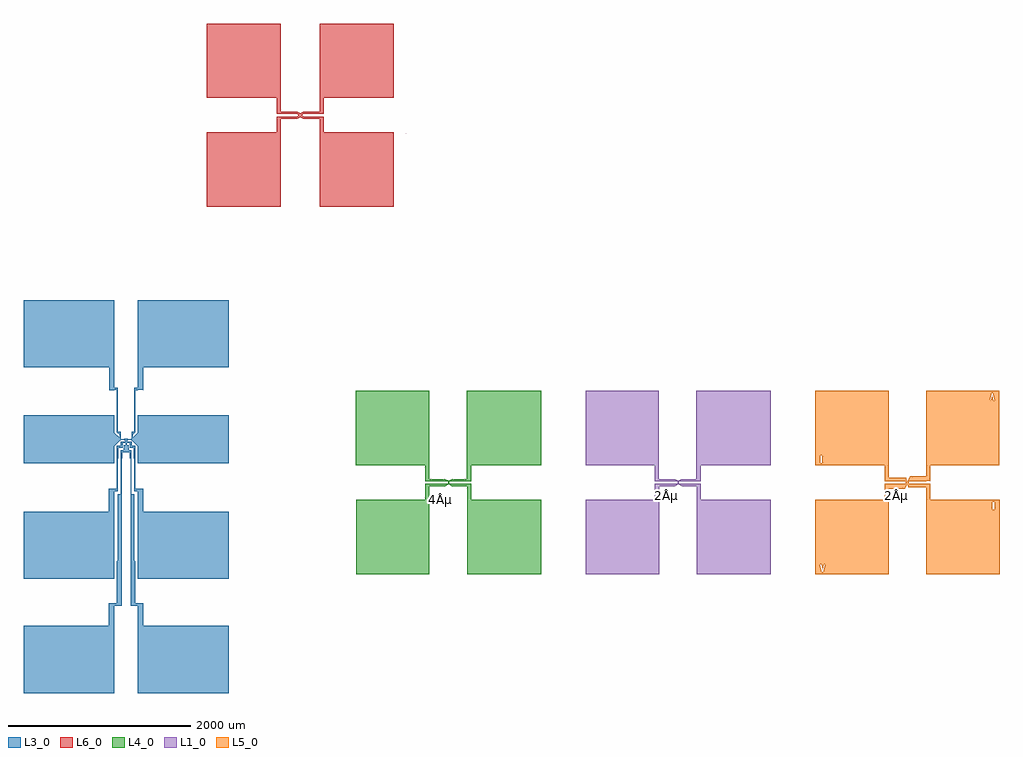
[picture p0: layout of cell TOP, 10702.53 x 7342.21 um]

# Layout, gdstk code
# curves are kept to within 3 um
import gdstk
lib = gdstk.Library(unit=1e-6, precision=1e-09)
def R(c, l, rs):  # rectangles x0, y0, x1, y1
    for r in rs: c.add(gdstk.rectangle(r[:2], r[2:], *l))
def P(c, l, *ps):  # polygons
    for p in ps: c.add(gdstk.Polygon(p, *l))
L1_0 = (1, 0)
L3_0 = (3, 0)
L4_0 = (4, 0)
L5_0 = (5, 0)
L6_0 = (6, 0)

top = lib.new_cell('TOP')
P(top, L1_0, [(8989.37,-1019.381),(8989.37,-205.391),(9746.868,-205.391),(9746.868,-30.384),(9986.89,-30.384),(9997.949,-21.604),(9997.949,-8.568),(9987.193,0.071),(9746.868,0),(9746.868,174.117),(8988.006,174.117),(8988.006,988.997),(9791.658,988.997),(9791.658,22.74),(9969.632,22.74),(10003.066,4.88),(10003.028,-36.407),(9969.685,-54.223),(9792.102,-54.223),(9792.102,-1019.381)],
  [(10203.643,-1019.044),(10203.643,-54.006),(10038.57,-54.006),(10005.031,-36.407),(10005.062,4.975),(10038.242,22.569),(10202.5,22.569),(10202.5,989.129),(11017.075,989.129),(11017.075,174.117),(10247.425,174.117),(10247.425,0.132),(10020.572,0.132),(10010.701,-8.608),(10010.701,-22.086),(10020.044,-30.047),(10247.425,-30.047),(10247.425,-205.327),(11017.014,-205.327),(11017.014,-1019.044)])
P(top, L3_0, [(2822.984,195.648),(2822.984,720.189),(3820.455,720.189),(3820.455,528.905),(3876.082,473.278),(3876.082,510.045),(3847.961,538.166),(3847.961,995.672),(3760.836,995.672),(3760.836,1249.581),(2822.984,1249.581),(2822.984,1984.669),(3820.434,1984.669),(3820.434,1022.199),(3857.977,1022.199),(3857.977,541.166),(3887.989,541.166),(3887.989,462.871),(3928.488,459.248),(3932.488,462.871),(3932.488,448.278),(3928.488,452.668),(3883.557,445.281),(3820.455,382.179),(3820.455,195.648)],
  [(4075.794,195.648),(4075.794,382.179),(4012.692,445.281),(3967.49,452.689),(3963.49,448.278),(3963.49,462.871),(3967.49,459.231),(4008.26,462.871),(4008.26,541.166),(4038.272,541.166),(4038.272,1022.199),(4075.815,1022.199),(4075.815,1984.669),(5073.265,1984.669),(5073.265,1249.581),(4135.413,1249.581),(4135.413,995.672),(4048.288,995.672),(4048.288,538.166),(4020.167,510.045),(4020.167,473.278),(4075.794,528.905),(4075.794,720.189),(5073.265,720.189),(5073.265,195.648)],
  [(2823.005,-2326.76),(2823.005,-1586.94),(3758.356,-1586.94),(3758.356,-1337.763),(3847.982,-1337.763),(3847.982,-880.257),(3858.049,-870.19),(3858.049,-146.66),(3889.074,-146.66),(3889.074,336.475),(3921.124,336.475),(3921.124,394.743),(3942.839,394.743),(3942.488,462.871),(3946.488,462.871),(3945.982,316.353),(3905.425,316.353),(3905.425,251.982),(3898.704,251.982),(3898.704,-1364.29),(3820.455,-1364.29),(3820.455,-2326.76)],
  [(2823.005,-1073.564),(2823.005,-333.744),(3758.356,-333.744),(3758.356,-84.567),(3847.982,-84.567),(3847.982,385.699),(3888.102,385.699),(3888.102,431.801),(3936.055,431.801),(3935.488,462.871),(3939.488,462.871),(3938.897,418.172),(3909.907,418.172),(3909.907,363.306),(3864.211,363.306),(3864.211,251.982),(3858.049,251.982),(3858.049,-111.094),(3820.455,-111.094),(3820.455,-1073.564)],
  [(4075.522,-2326.76),(4075.522,-1364.29),(3997.273,-1364.29),(3997.273,251.982),(3990.552,251.982),(3990.552,316.353),(3949.995,316.353),(3949.489,462.871),(3953.489,462.871),(3953.138,394.743),(3974.853,394.743),(3974.853,336.475),(4006.903,336.475),(4006.903,-146.66),(4037.928,-146.66),(4037.928,-870.19),(4047.995,-880.257),(4047.995,-1337.763),(4137.621,-1337.763),(4137.621,-1586.94),(5072.972,-1586.94),(5072.972,-2326.76)],
  [(4075.522,-1073.564),(4075.522,-111.094),(4037.928,-111.094),(4037.928,251.982),(4031.766,251.982),(4031.766,363.306),(3986.07,363.306),(3986.07,418.172),(3957.08,418.172),(3956.489,462.871),(3960.489,462.871),(3959.922,431.801),(4007.875,431.801),(4007.875,385.699),(4047.995,385.699),(4047.995,-84.567),(4137.621,-84.567),(4137.621,-333.744),(5072.972,-333.744),(5072.972,-1073.564)])
P(top, L4_0, [(7686.371,-1019.044),(7686.371,-54.006),(7521.298,-54.006),(7487.759,-36.407),(7487.79,4.975),(7520.97,22.569),(7685.228,22.569),(7685.228,989.129),(8499.803,989.129),(8499.803,174.117),(7730.153,174.117),(7730.153,0.132),(7503.3,0.132),(7493.429,-8.608),(7493.429,-22.086),(7502.772,-30.047),(7730.153,-30.047),(7730.153,-205.327),(8499.742,-205.327),(8499.742,-1019.044)],
  [(6470.076,-1019.381),(6470.076,-205.391),(7227.574,-205.391),(7227.574,-30.384),(7467.596,-30.384),(7478.655,-21.604),(7478.655,-8.568),(7467.899,0.071),(7227.574,0),(7227.574,174.117),(6468.712,174.117),(6468.712,988.997),(7272.364,988.997),(7272.364,22.74),(7450.338,22.74),(7483.772,4.88),(7483.734,-36.407),(7450.391,-54.223),(7272.808,-54.223),(7272.808,-1019.381)])
P(top, L5_0, [(12721.864,-1019.381),(12721.864,-65.564),(12526.897,-65.564),(12520.87,-7.068),(12531.898,-7.068),(12531.898,-30.384),(12766.654,-30.384),(12766.654,-204.501),(13525.516,-204.501),(13525.516,-314.759),(13471.406,-314.759),(13471.406,-228.488),(13447.442,-228.488),(13447.442,-314.759),(13525.516,-314.759),(13525.516,-1019.381)],
  [(12499.84,-23.316),(12499.84,0),(12265.084,0),(12265.084,174.117),(11506.222,174.117),(11506.222,284.375),(11560.332,284.375),(11560.332,198.104),(11584.296,198.104),(11584.296,284.375),(11506.222,284.375),(11506.222,988.997),(12309.874,988.997),(12309.874,35.18),(12504.841,35.18),(12510.868,-23.316)],
  [(11507.586,-1019.381),(11507.586,-913.274),(11555.596,-913.274),(11577.79,-1000.154),(11593.843,-1000.154),(11615.563,-914.219),(11598.091,-914.219),(11586.76,-965.213),(11574.01,-913.274),(11507.586,-913.274),(11507.586,-205.391),(12265.084,-205.391),(12265.084,-30.384),(12507.938,-30.024),(12512.868,-26.06),(12514.868,-7.181),(12514.868,-34.927),(12484.998,-83.711),(12309.874,-83.711),(12310.318,-1019.381)],
  [(12516.87,-23.16),(12516.87,4.543),(12546.74,53.327),(12721.864,53.327),(12721.42,969.77),(13437.895,969.77),(13416.175,883.835),(13433.647,883.835),(13444.978,934.829),(13457.728,882.89),(13476.142,882.89),(13453.948,969.77),(12721.42,969.77),(12721.42,988.997),(13524.152,988.997),(13524.152,175.007),(12766.654,175.007),(12766.654,0),(12523.8,-0.36),(12518.87,-4.324)])
R(top, L6_0, [(6070.2,3009.906,6884.2,3823.906), (4832.352,3009.908,5646.352,3823.908), (6070.18,3823.935,6114.97,3998.046), (5601.582,3823.937,5646.372,3998.048), (6070.189,4027.337,6114.979,4201.448), (5601.573,4027.339,5646.363,4201.45), (6070.193,4201.451,6884.193,5015.451), (4832.359,4201.453,5646.359,5015.453)])
P(top, L6_0, [(7008.802,3808.55),(7019.609,3817.048),(7019.609,3817.017),(7008.85,3808.55)],
  [(5892.619,3974.206),(5859.277,3992.022),(5859.277,4033.309),(5892.619,4051.169),(5892.628,4041.543),(5892.628,4051.174),(6070.187,4051.174),(6070.187,4027.335),(5892.628,4027.335),(5892.619,4033.04),(5892.619,4027.22),(5881.73,4018.969),(5881.73,4006.645),(5892.767,3997.966),(6070.177,3998.046),(6070.177,3974.207)],
  [(5823.933,3974.208),(5646.375,3974.209),(5646.375,3998.048),(5823.785,3997.968),(5834.822,4006.647),(5834.822,4018.971),(5823.933,4027.222),(5823.933,4033.042),(5823.924,4027.337),(5646.365,4027.337),(5646.365,4051.176),(5823.924,4051.176),(5823.924,4041.545),(5823.933,4051.171),(5857.275,4033.311),(5857.275,3992.024)])
top.add(gdstk.Label('4Âµ', (7399.979,-201.407), layer=4, texttype=0))
top.add(gdstk.Label('2Âµ', (9873.397,-154.059), layer=1, texttype=0))
top.add(gdstk.Label('2Âµ', (12391.613,-154.059), layer=5, texttype=0))

lib.write_gds('TOP.gds')
